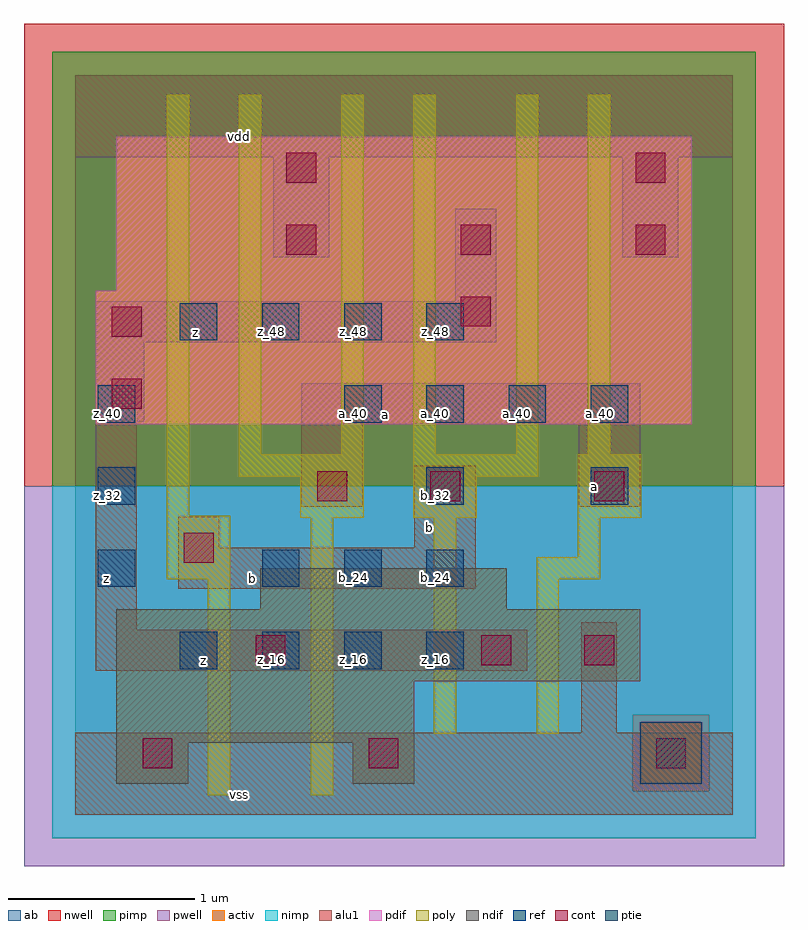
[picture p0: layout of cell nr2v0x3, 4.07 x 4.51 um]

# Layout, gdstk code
import gdstk
lib = gdstk.Library(unit=1e-6, precision=2.5e-09)
def R(c, l, rs):  # rectangles x0, y0, x1, y1
    for r in rs: c.add(gdstk.rectangle(r[:2], r[2:], *l))
def A(c, l, x, y, w, h, nx, ny, dx, dy):  # array of equal rectangles
    R(c, l, [(x+i*dx, y+j*dy, x+i*dx+w, y+j*dy+h) for i in range(nx) for j in range(ny)])
ndif = (3, 0)
pdif = (4, 0)
ptie = (6, 0)
ref = (24, 0)
cont = (25, 0)
pwell = (41, 0)
nwell = (42, 0)
activ = (43, 0)
pimp = (44, 0)
nimp = (45, 0)
poly = (46, 0)
alu1 = (49, 0)
ab = (63, 0)

nr2v0x3 = lib.new_cell('nr2v0x3')
R(nr2v0x3, ndif, [(0.22,0.165,0.605,0.385), (1.485,0.165,1.815,0.385), (0.22,0.385,1.815,0.715), (0.22,0.715,3.025,1.1), (0.99,1.1,2.31,1.32)])
R(nr2v0x3, pdif, [(0.11,2.09,3.3,2.805), (0.22,2.805,3.3,3.63)])
R(nr2v0x3, ptie, [(3.025,0.165,3.355,0.495)])
A(nr2v0x3, ref, 0.56, 0.78, 0.2, 0.2, 4, 2, 0.44, 1.76)
A(nr2v0x3, ref, 0.12, 1.22, 0.2, 0.2, 1, 3, 0, 0.44)
A(nr2v0x3, ref, 1, 1.22, 0.2, 0.2, 3, 1, 0.44, 0)
A(nr2v0x3, ref, 1.44, 2.1, 0.2, 0.2, 4, 1, 0.44, 0)
R(nr2v0x3, ref, [(1.88,1.66,2.08,1.86), (2.76,1.66,2.96,1.86)])
A(nr2v0x3, cont, 1.13, 3, 0.16, 0.16, 3, 1, 0.935, 0)
R(nr2v0x3, cont, [(0.36,0.25,0.52,0.41), (1.57,0.25,1.73,0.41), (3.11,0.25,3.27,0.41), (0.965,0.8,1.125,0.96), (2.175,0.8,2.335,0.96), (2.725,0.8,2.885,0.96), (0.58,1.35,0.74,1.51), (1.295,1.68,1.455,1.84), (1.9,1.68,2.06,1.84), (2.78,1.68,2.94,1.84), (0.195,2.175,0.355,2.335), (0.195,2.56,0.355,2.72), (2.065,2.615,2.225,2.775), (1.13,3.385,1.29,3.545), (3,3.385,3.16,3.545)])
R(nr2v0x3, pwell, [(-0.275,-0.275,3.795,1.76)])
R(nr2v0x3, nwell, [(-0.275,1.76,3.795,4.235)])
R(nr2v0x3, activ, [(0.22,0.165,0.605,0.385), (1.485,0.165,1.815,0.385), (3.025,0.165,3.355,0.495), (0.22,0.385,1.815,0.715), (0.22,0.715,3.025,1.1), (0.99,1.1,2.31,1.32), (0.11,2.09,3.3,2.805), (0.22,2.805,3.3,3.63)])
R(nr2v0x3, pimp, [(2.985,0.125,3.395,0.535), (-0.125,1.76,3.645,4.085)])
R(nr2v0x3, nimp, [(-0.125,-0.125,3.645,0.125), (-0.125,0.125,2.985,0.535), (3.395,0.125,3.645,0.535), (-0.125,0.535,3.645,1.76)])
R(nr2v0x3, poly, [(0.71,0.105,0.83,1.26), (1.26,0.105,1.38,1.59), (1.92,0.435,2.04,1.59), (2.47,0.435,2.59,1.26), (0.49,1.26,0.83,1.6), (2.47,1.26,2.81,1.38), (2.69,1.38,2.81,1.59), (1.205,1.59,1.545,1.81), (1.81,1.59,2.15,1.81), (2.69,1.59,3.03,1.93), (0.49,1.6,0.61,3.855), (0.875,1.81,1.545,1.93), (1.81,1.81,2.48,1.93), (0.875,1.93,0.995,3.855), (1.425,1.93,1.545,3.855), (1.81,1.93,1.93,3.855), (2.36,1.93,2.48,3.855), (2.745,1.93,2.865,3.855)])
R(nr2v0x3, alu1, [(0,0,3.52,0.44), (2.71,0.44,2.9,1.03), (0.11,0.77,2.42,0.99), (0.11,0.99,0.33,2.105), (0.55,1.21,2.145,1.43), (0.55,1.43,0.77,1.595), (1.815,1.43,2.145,1.87), (1.21,1.65,1.54,2.09), (2.695,1.65,3.025,2.09), (1.21,2.09,3.025,2.31), (0.11,2.105,0.37,2.53), (0.11,2.53,2.255,2.75), (2.035,2.75,2.255,3.245), (1.06,2.985,1.36,3.52), (2.93,2.985,3.23,3.52), (0,3.52,3.52,3.96)])
R(nr2v0x3, ab, [(0,0,3.52,3.96)])
nr2v0x3.add(gdstk.Label('vss', (0.88,0.11), layer=49, texttype=0))
nr2v0x3.add(gdstk.Label('z', (0.6875,0.825), layer=49, texttype=0))
nr2v0x3.add(gdstk.Label('b', (0.9475,1.265), layer=49, texttype=0))
nr2v0x3.add(gdstk.Label('a', (2.7775,1.76), layer=49, texttype=0))
nr2v0x3.add(gdstk.Label('b', (1.8975,1.54), layer=49, texttype=0))
nr2v0x3.add(gdstk.Label('a', (1.6625,2.145), layer=49, texttype=0))
nr2v0x3.add(gdstk.Label('z', (0.165,1.2675), layer=49, texttype=0))
nr2v0x3.add(gdstk.Label('z', (0.645,2.585), layer=49, texttype=0))
nr2v0x3.add(gdstk.Label('vdd', (0.88,3.63), layer=49, texttype=0))
nr2v0x3.add(gdstk.Label('a_40', (2.81,2.15), layer=24, texttype=0))
nr2v0x3.add(gdstk.Label('b_24', (1.93,1.27), layer=24, texttype=0))
nr2v0x3.add(gdstk.Label('z_16', (0.61,0.83), layer=24, texttype=0))
nr2v0x3.add(gdstk.Label('z_48', (0.61,2.59), layer=24, texttype=0))
nr2v0x3.add(gdstk.Label('z_16', (1.05,0.83), layer=24, texttype=0))
nr2v0x3.add(gdstk.Label('b_24', (1.05,1.27), layer=24, texttype=0))
nr2v0x3.add(gdstk.Label('z_48', (1.05,2.59), layer=24, texttype=0))
nr2v0x3.add(gdstk.Label('z_16', (1.49,0.83), layer=24, texttype=0))
nr2v0x3.add(gdstk.Label('b_24', (1.49,1.27), layer=24, texttype=0))
nr2v0x3.add(gdstk.Label('a_40', (1.49,2.15), layer=24, texttype=0))
nr2v0x3.add(gdstk.Label('z_48', (1.49,2.59), layer=24, texttype=0))
nr2v0x3.add(gdstk.Label('z_16', (1.93,0.83), layer=24, texttype=0))
nr2v0x3.add(gdstk.Label('b_32', (1.93,1.71), layer=24, texttype=0))
nr2v0x3.add(gdstk.Label('a_40', (1.93,2.15), layer=24, texttype=0))
nr2v0x3.add(gdstk.Label('z_48', (1.93,2.59), layer=24, texttype=0))
nr2v0x3.add(gdstk.Label('z_24', (0.17,1.27), layer=24, texttype=0))
nr2v0x3.add(gdstk.Label('z_32', (0.17,1.71), layer=24, texttype=0))
nr2v0x3.add(gdstk.Label('z_40', (0.17,2.15), layer=24, texttype=0))
nr2v0x3.add(gdstk.Label('a_40', (2.37,2.15), layer=24, texttype=0))
nr2v0x3.add(gdstk.Label('a_32', (2.81,1.71), layer=24, texttype=0))

lib.write_gds('nr2v0x3.gds')
